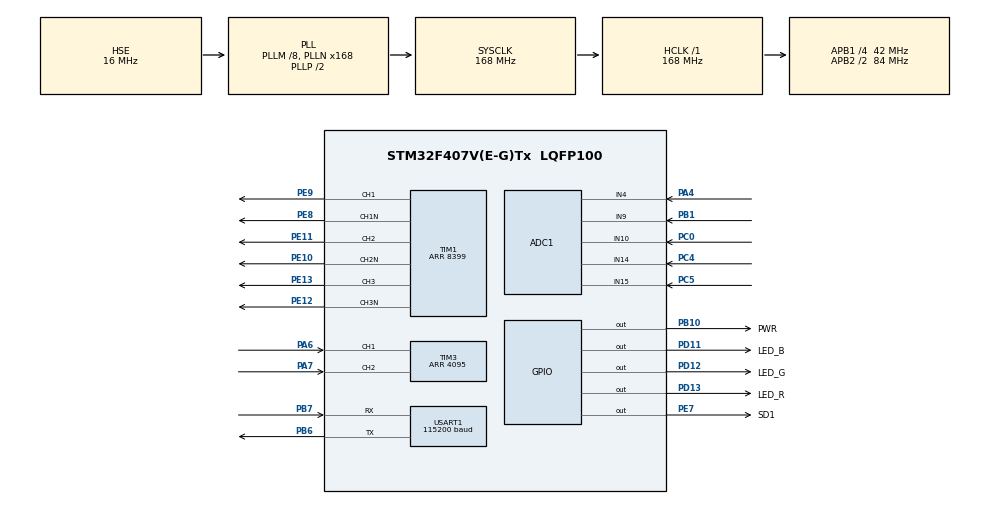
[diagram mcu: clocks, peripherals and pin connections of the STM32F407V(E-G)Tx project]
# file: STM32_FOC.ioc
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ADC1.Channel-0\#ChannelRegularConversion=ADC_CHANNEL_14
ADC1.Channel-1\#ChannelRegularConversion=ADC_CHANNEL_10
ADC1.Channel-2\#ChannelRegularConversion=ADC_CHANNEL_4
ADC1.Channel-5\#ChannelInjectedConversion=ADC_CHANNEL_15
ADC1.Channel-6\#ChannelInjectedConversion=ADC_CHANNEL_9
ADC1.ContinuousConvMode=ENABLE
ADC1.DMAContinuousRequests=ENABLE
ADC1.ExternalTrigInjecConv=ADC_EXTERNALTRIGINJECCONV_T1_CC4
ADC1.ExternalTrigInjecConvEdge=ADC_EXTERNALTRIGINJECCONVEDGE_RISING
ADC1.InjNumberOfConversion=2
ADC1.InjectedOffset-5\#ChannelInjectedConversion=0
ADC1.InjectedOffset-6\#ChannelInjectedConversion=0
ADC1.InjectedRank-5\#ChannelInjectedConversion=1
ADC1.InjectedRank-6\#ChannelInjectedConversion=2
ADC1.NbrOfConversion=3
ADC1.NbrOfConversionFlag=1
ADC1.Rank-0\#ChannelRegularConversion=1
ADC1.Rank-1\#ChannelRegularConversion=2
ADC1.Rank-2\#ChannelRegularConversion=3
ADC1.SamplingTime-0\#ChannelRegularConversion=ADC_SAMPLETIME_3CYCLES
ADC1.SamplingTime-1\#ChannelRegularConversion=ADC_SAMPLETIME_3CYCLES
ADC1.SamplingTime-2\#ChannelRegularConversion=ADC_SAMPLETIME_3CYCLES
ADC1.SamplingTime-5\#ChannelInjectedConversion=ADC_SAMPLETIME_15CYCLES
ADC1.SamplingTime-6\#ChannelInjectedConversion=ADC_SAMPLETIME_15CYCLES
ADC1.ScanConvMode=ENABLE
ADC1.master=1
Dma.ADC1.0.Direction=DMA_PERIPH_TO_MEMORY
Dma.ADC1.0.FIFOMode=DMA_FIFOMODE_DISABLE
Dma.ADC1.0.Instance=DMA2_Stream0
Dma.ADC1.0.MemDataAlignment=DMA_MDATAALIGN_HALFWORD
Dma.ADC1.0.MemInc=DMA_MINC_ENABLE
Dma.ADC1.0.Mode=DMA_CIRCULAR
Dma.ADC1.0.PeriphDataAlignment=DMA_PDATAALIGN_HALFWORD
Dma.ADC1.0.PeriphInc=DMA_PINC_DISABLE
Dma.ADC1.0.Priority=DMA_PRIORITY_HIGH
Dma.Request0=ADC1
Mcu.Family=STM32F4
Mcu.Name=STM32F407V(E-G)Tx
Mcu.Package=LQFP100
NVIC.PriorityGroup=NVIC_PRIORITYGROUP_4
NVIC.TIM1_UP_TIM10_IRQn=true\:0\:0\:false\:false\:true\:true\:true\:true
NVIC.TIM4_IRQn=true\:2\:0\:true\:false\:true\:true\:true\:true
NVIC.USART1_IRQn=true\:0\:0\:false\:false\:true\:true\:true\:true
PA13.Mode=Serial_Wire
PA13.Signal=SYS_JTMS-SWDIO
PA14.Mode=Serial_Wire
PA14.Signal=SYS_JTCK-SWCLK
PA4.Signal=ADCx_IN4
PA6.Signal=S_TIM3_CH1
PA7.Signal=S_TIM3_CH2
PB1.Signal=ADCx_IN9
PB10.GPIO_Label=PWR
PB10.PinState=GPIO_PIN_SET
PB10.Signal=GPIO_Output
PB6.Mode=Asynchronous
PB6.Signal=USART1_TX
PB7.Mode=Asynchronous
PB7.Signal=USART1_RX
PC0.Signal=ADCx_IN10
PC4.Signal=ADCx_IN14
PC5.Signal=ADCx_IN15
PD11.GPIO_Label=LED_B
PD11.PinState=GPIO_PIN_SET
PD11.Signal=GPIO_Output
PD12.GPIO_Label=LED_G
PD12.PinState=GPIO_PIN_SET
PD12.Signal=GPIO_Output
PD13.GPIO_Label=LED_R
PD13.PinState=GPIO_PIN_SET
PD13.Signal=GPIO_Output
PE10.GPIO_Speed=GPIO_SPEED_FREQ_HIGH
PE10.Mode=PWM Generation2 CH2 CH2N
PE10.Signal=TIM1_CH2N
PE11.GPIO_Speed=GPIO_SPEED_FREQ_HIGH
PE11.Signal=S_TIM1_CH2
PE12.GPIO_Speed=GPIO_SPEED_FREQ_HIGH
PE12.Mode=PWM Generation3 CH3 CH3N
PE12.Signal=TIM1_CH3N
PE13.GPIO_Speed=GPIO_SPEED_FREQ_HIGH
PE13.Signal=S_TIM1_CH3
PE7.GPIO_Label=SD1
PE7.GPIO_Speed=GPIO_SPEED_FREQ_VERY_HIGH
PE7.Signal=GPIO_Output
PE8.GPIO_Speed=GPIO_SPEED_FREQ_HIGH
PE8.Mode=PWM Generation1 CH1 CH1N
PE8.Signal=TIM1_CH1N
PE9.GPIO_Speed=GPIO_SPEED_FREQ_HIGH
PE9.Signal=S_TIM1_CH1
PH0-OSC_IN.Mode=HSE-External-Oscillator
PH0-OSC_IN.Signal=RCC_OSC_IN
PH1-OSC_OUT.Mode=HSE-External-Oscillator
PH1-OSC_OUT.Signal=RCC_OSC_OUT
ProjectManager.HeapSize=0x200
ProjectManager.StackSize=0x400
ProjectManager.TargetToolchain=MDK-ARM V5.32
RCC.48MHZClocksFreq_Value=84000000
RCC.AHBFreq_Value=168000000
RCC.APB1CLKDivider=RCC_HCLK_DIV4
RCC.APB1Freq_Value=42000000
RCC.APB1TimFreq_Value=84000000
RCC.APB2CLKDivider=RCC_HCLK_DIV2
RCC.APB2Freq_Value=84000000
RCC.APB2TimFreq_Value=168000000
RCC.CortexFreq_Value=168000000
RCC.HCLKFreq_Value=168000000
RCC.HSE_VALUE=16000000
RCC.HSI_VALUE=16000000
RCC.LSE_VALUE=32768
RCC.PLLM=8
RCC.PLLN=168
RCC.PLLSourceVirtual=RCC_PLLSOURCE_HSE
RCC.SYSCLKFreq_VALUE=168000000
RCC.SYSCLKSource=RCC_SYSCLKSOURCE_PLLCLK
RCC.VCOOutputFreq_Value=336000000
SH.ADCx_IN10.0=ADC1_IN10,IN10
SH.ADCx_IN14.0=ADC1_IN14,IN14
SH.ADCx_IN15.0=ADC1_IN15,IN15
SH.ADCx_IN4.0=ADC1_IN4,IN4
SH.ADCx_IN9.0=ADC1_IN9,IN9
SH.S_TIM1_CH1.0=TIM1_CH1,PWM Generation1 CH1 CH1N
SH.S_TIM1_CH2.0=TIM1_CH2,PWM Generation2 CH2 CH2N
SH.S_TIM1_CH3.0=TIM1_CH3,PWM Generation3 CH3 CH3N
SH.S_TIM3_CH1.0=TIM3_CH1,Encoder_Interface
SH.S_TIM3_CH2.0=TIM3_CH2,Encoder_Interface
TIM1.AutoReloadPreload=TIM_AUTORELOAD_PRELOAD_ENABLE
TIM1.AutomaticOutput=TIM_AUTOMATICOUTPUT_ENABLE
TIM1.Channel-PWM\ Generation1\ CH1\ CH1N=TIM_CHANNEL_1
TIM1.Channel-PWM\ Generation2\ CH2\ CH2N=TIM_CHANNEL_2
TIM1.Channel-PWM\ Generation3\ CH3\ CH3N=TIM_CHANNEL_3
TIM1.Channel-PWM\ Generation4\ No\ Output=TIM_CHANNEL_4
TIM1.CounterMode=TIM_COUNTERMODE_CENTERALIGNED1
TIM1.DeadTime=100
TIM1.OCMode_PWM-PWM\ Generation1\ CH1\ CH1N=TIM_OCMODE_PWM2
TIM1.OCMode_PWM-PWM\ Generation2\ CH2\ CH2N=TIM_OCMODE_PWM2
TIM1.OCMode_PWM-PWM\ Generation3\ CH3\ CH3N=TIM_OCMODE_PWM2
TIM1.OCMode_PWM-PWM\ Generation4\ No\ Output=TIM_OCMODE_PWM2
TIM1.Period=8399
TIM1.Pulse-PWM\ Generation4\ No\ Output=4200-1
TIM1.TIM_MasterOutputTrigger=TIM_TRGO_OC4REF
TIM1.TIM_MasterSlaveMode=TIM_MASTERSLAVEMODE_DISABLE
TIM3.EncoderMode=TIM_ENCODERMODE_TI12
TIM3.IC1Filter=7
TIM3.IC2Filter=7
TIM3.IC2Polarity=TIM_ICPOLARITY_FALLING
TIM3.Period=4095
TIM4.Period=999
TIM4.Prescaler=84-1
USART1.BaudRate=115200
USART1.VirtualMode=VM_ASYNC
VP_TIM1_VS_ClockSourceINT.Mode=Internal
VP_TIM1_VS_no_output4.Mode=PWM Generation4 No Output
VP_TIM4_VS_ClockSourceINT.Mode=Internal
board=custom

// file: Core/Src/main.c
/* USER CODE BEGIN Header */
/**
  ******************************************************************************
  * @file           : main.c
  * @brief          : Main program body
  ******************************************************************************
  * @attention
  *
  * Copyright (c) 2026 STMicroelectronics.
  * All rights reserved.
  *
  * This software is licensed under terms that can be found in the LICENSE file
  * in the root directory of this software component.
  * If no LICENSE file comes with this software, it is provided AS-IS.
  *
  ******************************************************************************
  */
/* USER CODE END Header */
#include "main.h"
#include "adc.h"
#include "dma.h"
#include "tim.h"
#include "usart.h"
#include "gpio.h"

/* USER CODE BEGIN Includes */

#include "foc.h"
#include "foc_current.h"
#include "foc_speed.h"
#include "foc_position.h"
#include "key_app.h"
#include "current_sense.h"
#include "clarke.h"
#include "encoder.h"
#include "vofa_app.h"
/* USER CODE END Includes */

/* USER CODE BEGIN PV */

CurrentSense_t g_current;
Encoder_t g_encoder;
/* USER CODE END PV */

void SystemClock_Config(void);

int main(void)
{

  /* MCU Configuration--------------------------------------------------------*/

  /* Reset of all peripherals, Initializes the Flash interface and the Systick. */
  HAL_Init();

  /* Configure the system clock */
  SystemClock_Config();

  /* Initialize all configured peripherals */
  MX_GPIO_Init();
  MX_DMA_Init();
  MX_TIM4_Init();
  MX_USART1_UART_Init();
  MX_ADC1_Init();
  MX_TIM3_Init();
  MX_TIM1_Init();
  /* USER CODE BEGIN 2 */

  HAL_GPIO_WritePin(LED_B_GPIO_Port, LED_B_Pin, GPIO_PIN_RESET);
  /* HAL_GPIO_WritePin(LED_R_GPIO_Port, LED_R_Pin, GPIO_PIN_RESET); */
  /* HAL_GPIO_WritePin(LED_G_GPIO_Port, LED_G_Pin, GPIO_PIN_RESET); */

  /* Initialize FOC open-loop control and write zero voltage vector */
  FOC_OpenLoop_Init();

  /* Initialize TIM3 encoder interface */
  Encoder_Init();

  /* Set board power and driver enable pins */
  HAL_GPIO_WritePin(PWR_GPIO_Port, PWR_Pin, GPIO_PIN_SET);
  HAL_GPIO_WritePin(SD1_GPIO_Port, SD1_Pin, GPIO_PIN_RESET);

  /* Start slow regular-group DMA and PWM-center injected current sampling */
  CurrentSense_StartDma();
  CurrentSense_StartInjectedPolling();

  /* Briefly enable zero-vector PWM so TIM1_CH4 triggers injected ADC, then calibrate offsets */
  FOC_OpenLoop_Enable();
  CurrentSense_CalibrateOffset();
  FOC_OpenLoop_Disable();

  /* Align encoder zero to electrical angle zero by applying an alpha-axis voltage vector */
  FOC_OpenLoop_Enable();
  FOC_SvpwmUpdate(1.0f, 0.0f);
  HAL_Delay(800);
  Encoder_SetZero(&g_encoder);
  FOC_OpenLoop_Disable();

  /* Injected ADC remains in polling mode; current loop reads it in TIM1 update interrupt */

  /* Initialize current-loop, speed-loop and position-loop controllers */
  FOC_Current_Init();
  FOC_Speed_Init();
  FOC_Position_Init();

  /* Initialize keys; PWM stays disabled until KEY1 is pressed */
  KEY_AppInit();

  /* Initialize non-blocking VOFA+ serial output */
  VOFA_Init();
  /* USER CODE END 2 */

  /* Infinite loop */
  while (1)
  {

    /* USER CODE BEGIN 3 */

    KEY_AppScan();

    /* KEY1: enable position loop */
    if ((KEY_AppGetSingleClick(KEY_APP_KEY1) == 1U) && (FOC_Position_IsEnabled() == 0U))
    {
        FOC_Position_Enable();
    }

    /* KEY2: disable position loop */
    if ((KEY_AppGetSingleClick(KEY_APP_KEY2) == 1U) && (FOC_Position_IsEnabled() == 1U))
    {
        FOC_Position_Disable();
    }

    /* KEY3: single click increases position target, double click decreases it */
    if (KEY_AppGetSingleClick(KEY_APP_KEY3) == 1U)
    {
        FOC_Position_IncreaseTarget();
    }
    if (KEY_AppGetDoubleClick(KEY_APP_KEY3) == 1U)
    {
        FOC_Position_DecreaseTarget();
    }

    /* Read encoder angle and speed at 1 kHz for debug and VOFA */
    Encoder_Update(&g_encoder);

    /* Position loop runs at 1 kHz and updates the speed-loop target */
    FOC_Position_Run();

    /* Send data to VOFA+ without blocking the control loop */
    VOFA_Task(&g_current, &g_encoder);

    HAL_Delay(1);
  }
  /* USER CODE END 3 */
}

void SystemClock_Config(void)
{
  RCC_OscInitTypeDef RCC_OscInitStruct = {0};
  RCC_ClkInitTypeDef RCC_ClkInitStruct = {0};

  /** Configure the main internal regulator output voltage
  */
  __HAL_RCC_PWR_CLK_ENABLE();
  __HAL_PWR_VOLTAGESCALING_CONFIG(PWR_REGULATOR_VOLTAGE_SCALE1);

  /** Initializes the RCC Oscillators according to the specified parameters
  * in the RCC_OscInitTypeDef structure.
  */
  RCC_OscInitStruct.OscillatorType = RCC_OSCILLATORTYPE_HSE;
  RCC_OscInitStruct.HSEState = RCC_HSE_ON;
  RCC_OscInitStruct.PLL.PLLState = RCC_PLL_ON;
  RCC_OscInitStruct.PLL.PLLSource = RCC_PLLSOURCE_HSE;
  RCC_OscInitStruct.PLL.PLLM = 8;
  RCC_OscInitStruct.PLL.PLLN = 168;
  RCC_OscInitStruct.PLL.PLLP = RCC_PLLP_DIV2;
  RCC_OscInitStruct.PLL.PLLQ = 4;
  if (HAL_RCC_OscConfig(&RCC_OscInitStruct) != HAL_OK)
  {
    Error_Handler();
  }

  /** Initializes the CPU, AHB and APB buses clocks
  */
  RCC_ClkInitStruct.ClockType = RCC_CLOCKTYPE_HCLK|RCC_CLOCKTYPE_SYSCLK
                              |RCC_CLOCKTYPE_PCLK1|RCC_CLOCKTYPE_PCLK2;
  RCC_ClkInitStruct.SYSCLKSource = RCC_SYSCLKSOURCE_PLLCLK;
  RCC_ClkInitStruct.AHBCLKDivider = RCC_SYSCLK_DIV1;
  RCC_ClkInitStruct.APB1CLKDivider = RCC_HCLK_DIV4;
  RCC_ClkInitStruct.APB2CLKDivider = RCC_HCLK_DIV2;

  if (HAL_RCC_ClockConfig(&RCC_ClkInitStruct, FLASH_LATENCY_5) != HAL_OK)
  {
    Error_Handler();
  }
}

void Error_Handler(void)
{
  __disable_irq();
  while (1)
  {
  }
}
